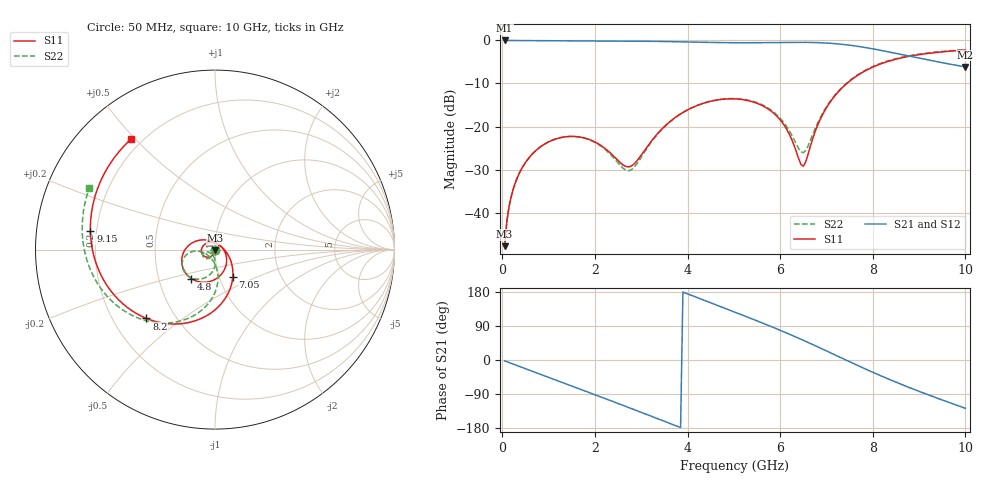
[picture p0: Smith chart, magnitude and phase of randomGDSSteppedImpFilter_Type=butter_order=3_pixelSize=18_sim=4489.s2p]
! freq	dB(S11)	phase(S11)	dB(S12)	phase(S12)
!  dB(S21)	phase(S21)	dB(S22)	phase(S22)
!S-par simulation data
#  GHz  S  DB  R 50
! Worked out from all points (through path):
!   200 points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, 50 MHz to 10 GHz, reference 50 ohm
!   highest |S21| = -0.01 dB at 50 MHz (marker M1); lowest = -6.1 dB at 10 GHz (marker M2)
!   group delay of S21, straight-line fit = 137 ps
!   lowest |S11| = -47.8 dB at 50 MHz (marker M3), VSWR 1.01, Z = 50 - j0.407 ohm
!   |S11| at or under -10 dB: start of sweep to 7.44 GHz
!   |S22| runs from -47.8 to -2.2 dB; largest |S21 - S12| = 0
!   S11 on the Smith chart (normalised r, x): 50 MHz: 1.00, -0.01; 4.8 GHz: 0.73, -0.25; 7.05 GHz: 1.16, -0.37; 8.2 GHz: 0.34, -0.37; 9.15 GHz: 0.18, +0.07; 10 GHz: 0.16, +0.49
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0.05  -47.81 -88.8  -0.01 -2.3  -0.01 -2.3  -47.79 -88.2
0.1  -41.88 -93.3  -0.01 -4.6  -0.01 -4.6  -41.87 -92.2
0.2  -35.95 -99.6  -0.02 -9.2  -0.02 -9.2  -35.94 -97.5
0.55  -27.63 -118.8  -0.04 -25.3  -0.04 -25.3  -27.62 -112.8
1.1  -23.10 -148.1  -0.08 -50.4  -0.08 -50.4  -23.10 -134.7
1.75  -22.60 174.1  -0.11 -80.1  -0.11 -80.1  -22.66 -157.3
2.25  -25.37 135.3  -0.13 -103.1  -0.13 -103.1  -25.61 -165.6
2.75  -29.34 52.6  -0.15 -126.4  -0.15 -126.4  -30.23 -126.3
3.4  -21.09 -42.7  -0.23 -157.0  -0.23 -157.0  -21.20 -89.7
4.1  -15.61 -89.7  -0.38 169.9  -0.38 169.9  -15.60 -109.3
4.8  -13.63 -129.1  -0.51 136.9  -0.51 136.9  -13.57 -135.4
5.05  -13.60 -142.9  -0.53 125.1  -0.53 125.1  -13.51 -144.9
5.9  -17.31 165.4  -0.48 83.6  -0.48 83.6  -17.00 -173.4
6.15  -20.81 143.7  -0.45 70.7  -0.45 70.7  -20.17 -175.1
6.5  -29.21 50.6  -0.44 52.0  -0.44 52.0  -26.09 -128.9
6.7  -22.93 -17.6  -0.47 40.9  -0.47 40.9  -21.95 -90.5
7.05  -14.79 -57.0  -0.64 21.2  -0.64 21.2  -14.59 -85.5
7.55  -9.04 -93.5  -1.18 -7.4  -1.18 -7.4  -8.92 -104.0
8.2  -5.33 -134.9  -2.36 -43.1  -2.36 -43.1  -5.22 -133.5
8.35  -4.80 -143.8  -2.68 -50.8  -2.68 -50.8  -4.69 -140.2
9.15  -3.07 171.5  -4.45 -89.7  -4.45 -89.7  -2.96 -173.6
10  -2.23 127.2  -6.14 -127.5  -6.14 -127.5  -2.16 154.1
